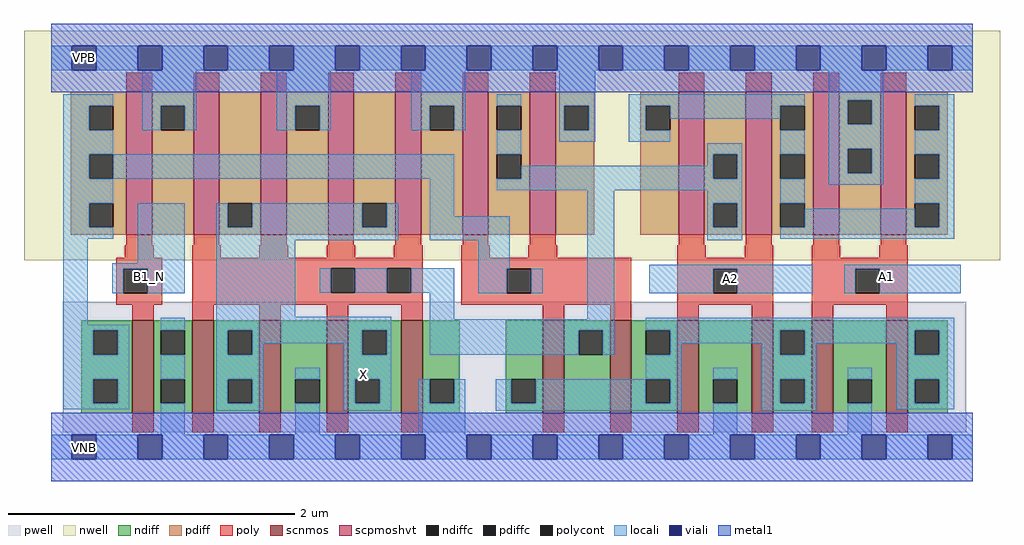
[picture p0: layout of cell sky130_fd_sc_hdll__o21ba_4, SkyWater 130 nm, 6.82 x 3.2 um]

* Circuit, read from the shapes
.subckt sky130_fd_sc_hdll__o21ba_4 A1 A2 B1_N VGND VNB VPB VPWR X
XM1 VGND B1_N n1 VNB sky130_fd_pr__nfet_01v8 w=0.65 l=0.15
XM2 X n2 VGND VNB sky130_fd_pr__nfet_01v8 w=0.65 l=0.15 m=4
XM3 n2 n1 n3 VNB sky130_fd_pr__nfet_01v8 w=0.65 l=0.15 m=2
XM4 VGND A2 n3 VNB sky130_fd_pr__nfet_01v8 w=0.65 l=0.15 m=2
XM5 VGND A1 n3 VNB sky130_fd_pr__nfet_01v8 w=0.65 l=0.15 m=2
XM6 VPWR B1_N n1 VPB sky130_fd_pr__pfet_01v8_hvt w=1 l=0.18
XM7 X n2 VPWR VPB sky130_fd_pr__pfet_01v8_hvt w=1 l=0.18 m=4
XM8 n2 n1 VPWR VPB sky130_fd_pr__pfet_01v8_hvt w=1 l=0.18 m=2
XM9 n2 A2 n4 VPB sky130_fd_pr__pfet_01v8_hvt w=1 l=0.18 m=2
XM10 VPWR A1 n4 VPB sky130_fd_pr__pfet_01v8_hvt w=1 l=0.18 m=2
.ends

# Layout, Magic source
magic
tech sky130A
magscale 1 2
<< nwell >>
rect -38 261 1326 582
<< pwell >>
rect 16 21 1279 203
rect 29 -17 63 21
<< scnmos >>
rect 113 47 143 177
rect 197 47 227 177
rect 291 47 321 177
rect 385 47 415 177
rect 489 47 519 177
rect 687 47 717 177
rect 781 47 811 177
rect 875 47 905 177
rect 979 47 1009 177
rect 1063 47 1093 177
rect 1167 47 1197 177
<< scpmoshvt >>
rect 105 297 141 497
rect 199 297 235 497
rect 293 297 329 497
rect 387 297 423 497
rect 481 297 517 497
rect 575 297 611 497
rect 669 297 705 497
rect 877 297 913 497
rect 971 297 1007 497
rect 1065 297 1101 497
rect 1159 297 1195 497
<< ndiff >>
rect 42 163 113 177
rect 42 129 59 163
rect 93 129 113 163
rect 42 95 113 129
rect 42 61 59 95
rect 93 61 113 95
rect 42 47 113 61
rect 143 163 197 177
rect 143 129 153 163
rect 187 129 197 163
rect 143 95 197 129
rect 143 61 153 95
rect 187 61 197 95
rect 143 47 197 61
rect 227 163 291 177
rect 227 129 247 163
rect 281 129 291 163
rect 227 95 291 129
rect 227 61 247 95
rect 281 61 291 95
rect 227 47 291 61
rect 321 95 385 177
rect 321 61 341 95
rect 375 61 385 95
rect 321 47 385 61
rect 415 163 489 177
rect 415 129 435 163
rect 469 129 489 163
rect 415 95 489 129
rect 415 61 425 95
rect 459 61 489 95
rect 415 47 489 61
rect 519 95 571 177
rect 519 61 529 95
rect 563 61 571 95
rect 519 47 571 61
rect 635 95 687 177
rect 635 61 643 95
rect 677 61 687 95
rect 635 47 687 61
rect 717 163 781 177
rect 717 129 737 163
rect 771 129 781 163
rect 717 47 781 129
rect 811 163 875 177
rect 811 129 831 163
rect 865 129 875 163
rect 811 95 875 129
rect 811 61 831 95
rect 865 61 875 95
rect 811 47 875 61
rect 905 95 979 177
rect 905 61 925 95
rect 959 61 979 95
rect 905 47 979 61
rect 1009 163 1063 177
rect 1009 129 1019 163
rect 1053 129 1063 163
rect 1009 95 1063 129
rect 1009 61 1019 95
rect 1053 61 1063 95
rect 1009 47 1063 61
rect 1093 95 1167 177
rect 1093 61 1113 95
rect 1147 61 1167 95
rect 1093 47 1167 61
rect 1197 163 1253 177
rect 1197 129 1207 163
rect 1241 129 1253 163
rect 1197 95 1253 129
rect 1197 61 1207 95
rect 1241 61 1253 95
rect 1197 47 1253 61
<< pdiff >>
rect 27 477 105 497
rect 27 443 53 477
rect 87 443 105 477
rect 27 409 105 443
rect 27 375 53 409
rect 87 375 105 409
rect 27 341 105 375
rect 27 307 53 341
rect 87 307 105 341
rect 27 297 105 307
rect 141 477 199 497
rect 141 443 153 477
rect 187 443 199 477
rect 141 297 199 443
rect 235 341 293 497
rect 235 307 247 341
rect 281 307 293 341
rect 235 297 293 307
rect 329 477 387 497
rect 329 443 341 477
rect 375 443 387 477
rect 329 297 387 443
rect 423 341 481 497
rect 423 307 435 341
rect 469 307 481 341
rect 423 297 481 307
rect 517 477 575 497
rect 517 443 529 477
rect 563 443 575 477
rect 517 297 575 443
rect 611 477 669 497
rect 611 443 623 477
rect 657 443 669 477
rect 611 409 669 443
rect 611 375 623 409
rect 657 375 669 409
rect 611 297 669 375
rect 705 477 759 497
rect 705 443 717 477
rect 751 443 759 477
rect 705 297 759 443
rect 823 477 877 497
rect 823 443 831 477
rect 865 443 877 477
rect 823 297 877 443
rect 913 409 971 497
rect 913 375 925 409
rect 959 375 971 409
rect 913 341 971 375
rect 913 307 925 341
rect 959 307 971 341
rect 913 297 971 307
rect 1007 477 1065 497
rect 1007 443 1019 477
rect 1053 443 1065 477
rect 1007 409 1065 443
rect 1007 375 1019 409
rect 1053 375 1065 409
rect 1007 341 1065 375
rect 1007 307 1019 341
rect 1053 307 1065 341
rect 1007 297 1065 307
rect 1101 485 1159 497
rect 1101 451 1113 485
rect 1147 451 1159 485
rect 1101 417 1159 451
rect 1101 383 1113 417
rect 1147 383 1159 417
rect 1101 297 1159 383
rect 1195 477 1253 497
rect 1195 443 1207 477
rect 1241 443 1253 477
rect 1195 409 1253 443
rect 1195 375 1207 409
rect 1241 375 1253 409
rect 1195 341 1253 375
rect 1195 307 1207 341
rect 1241 307 1253 341
rect 1195 297 1253 307
<< ndiffc >>
rect 59 129 93 163
rect 59 61 93 95
rect 153 129 187 163
rect 153 61 187 95
rect 247 129 281 163
rect 247 61 281 95
rect 341 61 375 95
rect 435 129 469 163
rect 425 61 459 95
rect 529 61 563 95
rect 643 61 677 95
rect 737 129 771 163
rect 831 129 865 163
rect 831 61 865 95
rect 925 61 959 95
rect 1019 129 1053 163
rect 1019 61 1053 95
rect 1113 61 1147 95
rect 1207 129 1241 163
rect 1207 61 1241 95
<< pdiffc >>
rect 53 443 87 477
rect 53 375 87 409
rect 53 307 87 341
rect 153 443 187 477
rect 247 307 281 341
rect 341 443 375 477
rect 435 307 469 341
rect 529 443 563 477
rect 623 443 657 477
rect 623 375 657 409
rect 717 443 751 477
rect 831 443 865 477
rect 925 375 959 409
rect 925 307 959 341
rect 1019 443 1053 477
rect 1019 375 1053 409
rect 1019 307 1053 341
rect 1113 451 1147 485
rect 1113 383 1147 417
rect 1207 443 1241 477
rect 1207 375 1241 409
rect 1207 307 1241 341
<< poly >>
rect 105 497 141 523
rect 199 497 235 523
rect 293 497 329 523
rect 387 497 423 523
rect 481 497 517 523
rect 575 497 611 523
rect 669 497 705 523
rect 877 497 913 523
rect 971 497 1007 523
rect 1065 497 1101 523
rect 1159 497 1195 523
rect 105 282 141 297
rect 199 282 235 297
rect 293 282 329 297
rect 387 282 423 297
rect 481 282 517 297
rect 575 282 611 297
rect 669 282 705 297
rect 877 282 913 297
rect 971 282 1007 297
rect 1065 282 1101 297
rect 1159 282 1195 297
rect 103 265 143 282
rect 197 265 237 282
rect 291 265 331 282
rect 385 265 425 282
rect 479 265 519 282
rect 91 249 155 265
rect 91 215 101 249
rect 135 215 155 249
rect 91 199 155 215
rect 197 250 519 265
rect 197 216 391 250
rect 425 216 469 250
rect 503 216 519 250
rect 197 199 519 216
rect 573 265 613 282
rect 667 265 707 282
rect 875 265 915 282
rect 969 265 1009 282
rect 573 249 811 265
rect 573 215 637 249
rect 671 215 811 249
rect 573 199 811 215
rect 113 177 143 199
rect 197 177 227 199
rect 291 177 321 199
rect 385 177 415 199
rect 489 177 519 199
rect 687 177 717 199
rect 781 177 811 199
rect 875 249 1009 265
rect 875 215 925 249
rect 959 215 1009 249
rect 875 199 1009 215
rect 875 177 905 199
rect 979 177 1009 199
rect 1063 265 1103 282
rect 1157 265 1197 282
rect 1063 249 1197 265
rect 1063 215 1124 249
rect 1158 215 1197 249
rect 1063 199 1197 215
rect 1063 177 1093 199
rect 1167 177 1197 199
rect 113 21 143 47
rect 197 21 227 47
rect 291 21 321 47
rect 385 21 415 47
rect 489 21 519 47
rect 687 21 717 47
rect 781 21 811 47
rect 875 21 905 47
rect 979 21 1009 47
rect 1063 21 1093 47
rect 1167 21 1197 47
<< polycont >>
rect 101 215 135 249
rect 391 216 425 250
rect 469 216 503 250
rect 637 215 671 249
rect 925 215 959 249
rect 1124 215 1158 249
<< locali >>
rect 0 527 29 561
rect 63 527 121 561
rect 155 527 213 561
rect 247 527 305 561
rect 339 527 397 561
rect 431 527 489 561
rect 523 527 581 561
rect 615 527 673 561
rect 707 527 765 561
rect 799 527 857 561
rect 891 527 949 561
rect 983 527 1041 561
rect 1075 527 1133 561
rect 1167 527 1225 561
rect 1259 527 1288 561
rect 17 477 87 493
rect 17 443 53 477
rect 127 477 203 527
rect 127 443 153 477
rect 187 443 203 477
rect 315 477 391 527
rect 315 443 341 477
rect 375 443 391 477
rect 503 477 579 527
rect 503 443 529 477
rect 563 443 579 477
rect 623 477 657 493
rect 17 409 87 443
rect 623 409 657 443
rect 710 477 760 527
rect 710 443 717 477
rect 751 443 760 477
rect 710 427 760 443
rect 807 477 1053 493
rect 807 443 831 477
rect 865 459 1019 477
rect 807 427 865 443
rect 17 375 53 409
rect 87 375 563 409
rect 17 341 87 375
rect 17 307 53 341
rect 17 291 87 307
rect 17 171 51 291
rect 121 257 187 341
rect 85 249 187 257
rect 85 215 101 249
rect 135 215 187 249
rect 231 307 247 341
rect 281 307 435 341
rect 469 307 485 341
rect 231 289 485 307
rect 529 323 563 375
rect 917 409 966 425
rect 917 393 925 409
rect 657 375 925 393
rect 959 375 966 409
rect 623 359 966 375
rect 529 289 641 323
rect 231 182 341 289
rect 375 216 391 250
rect 425 216 469 250
rect 503 216 563 250
rect 17 163 109 171
rect 17 129 59 163
rect 93 129 109 163
rect 17 95 109 129
rect 17 61 59 95
rect 93 61 109 95
rect 17 53 109 61
rect 153 163 187 181
rect 153 95 187 129
rect 153 17 187 61
rect 231 163 475 182
rect 231 129 247 163
rect 281 145 435 163
rect 281 129 297 145
rect 231 95 297 129
rect 409 129 435 145
rect 469 129 475 163
rect 529 179 563 216
rect 597 249 641 289
rect 597 215 637 249
rect 671 215 687 249
rect 749 179 787 359
rect 917 341 966 359
rect 917 307 925 341
rect 959 307 966 341
rect 917 289 966 307
rect 1019 409 1053 443
rect 1019 341 1053 375
rect 1087 485 1163 527
rect 1087 451 1113 485
rect 1147 451 1163 485
rect 1087 417 1163 451
rect 1087 383 1113 417
rect 1147 383 1163 417
rect 1087 367 1163 383
rect 1207 477 1262 493
rect 1241 443 1262 477
rect 1207 409 1262 443
rect 1241 375 1262 409
rect 1207 341 1262 375
rect 1053 307 1207 333
rect 1241 307 1262 341
rect 1019 291 1262 307
rect 836 249 1064 255
rect 836 215 925 249
rect 959 215 1064 249
rect 1108 249 1271 255
rect 1108 215 1124 249
rect 1158 215 1271 249
rect 529 163 787 179
rect 529 129 737 163
rect 771 129 787 163
rect 831 163 1262 181
rect 865 145 1019 163
rect 865 129 881 145
rect 231 61 247 95
rect 281 61 297 95
rect 231 51 297 61
rect 341 95 375 111
rect 341 17 375 61
rect 409 95 475 129
rect 831 95 881 129
rect 993 129 1019 145
rect 1053 145 1207 163
rect 1053 129 1069 145
rect 409 61 425 95
rect 459 61 475 95
rect 409 51 475 61
rect 513 61 529 95
rect 563 61 579 95
rect 513 17 579 61
rect 621 61 643 95
rect 677 61 831 95
rect 865 61 881 95
rect 621 51 881 61
rect 925 95 959 111
rect 925 17 959 61
rect 993 95 1069 129
rect 1181 129 1207 145
rect 1241 129 1262 163
rect 993 61 1019 95
rect 1053 61 1069 95
rect 993 51 1069 61
rect 1113 95 1147 111
rect 1113 17 1147 61
rect 1181 95 1262 129
rect 1181 61 1207 95
rect 1241 61 1262 95
rect 1181 53 1262 61
rect 0 -17 29 17
rect 63 -17 121 17
rect 155 -17 213 17
rect 247 -17 305 17
rect 339 -17 397 17
rect 431 -17 489 17
rect 523 -17 581 17
rect 615 -17 673 17
rect 707 -17 765 17
rect 799 -17 857 17
rect 891 -17 949 17
rect 983 -17 1041 17
rect 1075 -17 1133 17
rect 1167 -17 1225 17
rect 1259 -17 1288 17
<< viali >>
rect 29 527 63 561
rect 121 527 155 561
rect 213 527 247 561
rect 305 527 339 561
rect 397 527 431 561
rect 489 527 523 561
rect 581 527 615 561
rect 673 527 707 561
rect 765 527 799 561
rect 857 527 891 561
rect 949 527 983 561
rect 1041 527 1075 561
rect 1133 527 1167 561
rect 1225 527 1259 561
rect 29 -17 63 17
rect 121 -17 155 17
rect 213 -17 247 17
rect 305 -17 339 17
rect 397 -17 431 17
rect 489 -17 523 17
rect 581 -17 615 17
rect 673 -17 707 17
rect 765 -17 799 17
rect 857 -17 891 17
rect 949 -17 983 17
rect 1041 -17 1075 17
rect 1133 -17 1167 17
rect 1225 -17 1259 17
<< metal1 >>
rect 0 561 1288 592
rect 0 527 29 561
rect 63 527 121 561
rect 155 527 213 561
rect 247 527 305 561
rect 339 527 397 561
rect 431 527 489 561
rect 523 527 581 561
rect 615 527 673 561
rect 707 527 765 561
rect 799 527 857 561
rect 891 527 949 561
rect 983 527 1041 561
rect 1075 527 1133 561
rect 1167 527 1225 561
rect 1259 527 1288 561
rect 0 496 1288 527
rect 0 17 1288 48
rect 0 -17 29 17
rect 63 -17 121 17
rect 155 -17 213 17
rect 247 -17 305 17
rect 339 -17 397 17
rect 431 -17 489 17
rect 523 -17 581 17
rect 615 -17 673 17
rect 707 -17 765 17
rect 799 -17 857 17
rect 891 -17 949 17
rect 983 -17 1041 17
rect 1075 -17 1133 17
rect 1167 -17 1225 17
rect 1259 -17 1288 17
rect 0 -48 1288 -17
<< labels >>
flabel locali s 121 221 155 255 0 FreeSans 400 180 0 0 B1_N
port 3 nsew signal input
flabel locali s 1151 221 1185 255 0 FreeSans 400 180 0 0 A1
port 1 nsew signal input
flabel locali s 836 215 1064 255 0 FreeSans 400 180 0 0 A2
port 2 nsew signal input
flabel locali s 420 85 454 119 0 FreeSans 400 180 0 0 X
port 8 nsew signal output
flabel pwell s 29 -17 63 17 0 FreeSans 200 0 0 0 VNB
port 5 nsew ground bidirectional
flabel nwell s 29 527 63 561 0 FreeSans 200 0 0 0 VPB
port 6 nsew power bidirectional
flabel metal1 s 29 -17 63 17 0 FreeSans 200 0 0 0 VGND
port 4 nsew ground bidirectional
flabel metal1 s 29 527 63 561 0 FreeSans 200 0 0 0 VPWR
port 7 nsew power bidirectional
rlabel comment s 0 0 0 0 4 o21ba_4
<< properties >>
string LEFsite unithd
string LEFclass CORE
string FIXED_BBOX 0 0 1288 544
string GDS_FILE $PDKPATH/libs.ref/sky130_fd_sc_hdll/gds/sky130_fd_sc_hdll.gds
string LEFsymmetry X Y R90
string GDS_END 2452380
string GDS_START 2442884
string LEFproperties maskLayoutSubType "abstract" prCellType "standard" originalViewName "layout"
<< end >>
